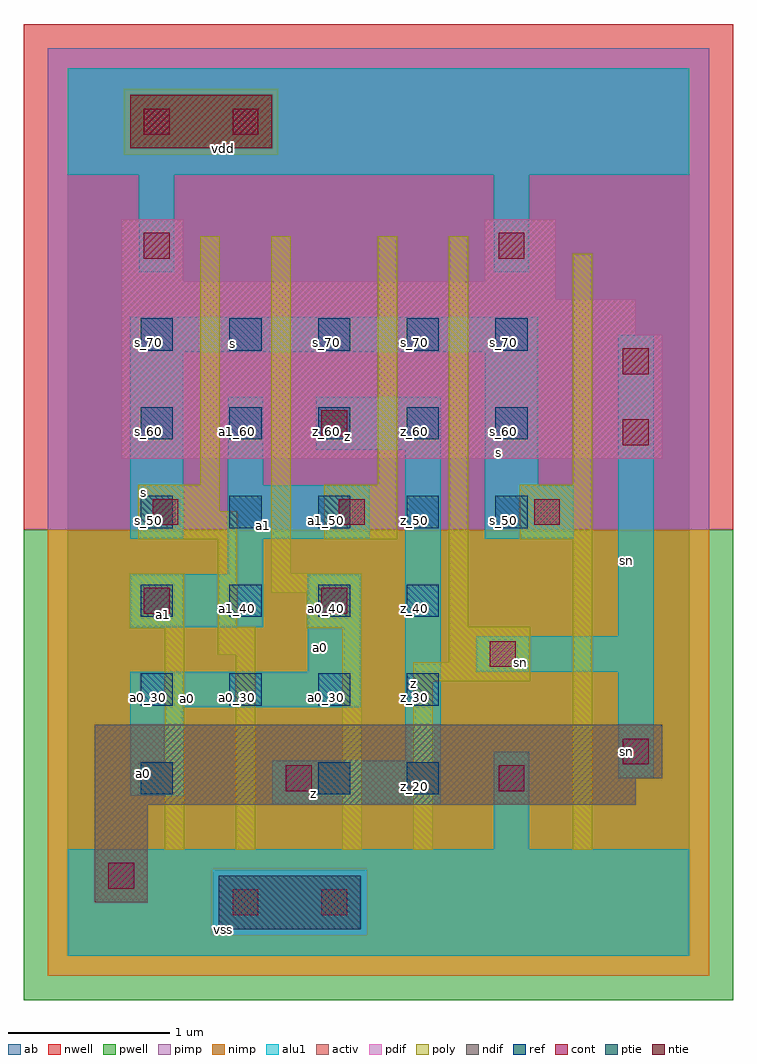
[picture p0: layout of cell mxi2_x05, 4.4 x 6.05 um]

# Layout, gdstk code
import gdstk
lib = gdstk.Library(unit=1e-6, precision=2.5e-09)
def R(c, l, rs):  # rectangles x0, y0, x1, y1
    for r in rs: c.add(gdstk.rectangle(r[:2], r[2:], *l))
def A(c, l, x, y, w, h, nx, ny, dx, dy):  # array of equal rectangles
    R(c, l, [(x+i*dx, y+j*dy, x+i*dx+w, y+j*dy+h) for i in range(nx) for j in range(ny)])
ndif = (3, 0)
pdif = (4, 0)
ntie = (5, 0)
ptie = (6, 0)
ref = (24, 0)
cont = (25, 0)
pwell = (41, 0)
nwell = (42, 0)
activ = (43, 0)
pimp = (44, 0)
nimp = (45, 0)
poly = (46, 0)
alu1 = (49, 0)
ab = (63, 0)

mxi2_x05 = lib.new_cell('mxi2_x05')
R(mxi2_x05, ndif, [(0.165,0.33,0.495,0.935), (0.165,0.935,3.52,1.1), (0.165,1.1,3.685,1.43)])
R(mxi2_x05, pdif, [(0.33,3.08,3.685,3.85), (0.33,3.85,3.52,4.07), (0.33,4.07,3.025,4.18), (0.33,4.18,0.715,4.565), (2.585,4.18,3.025,4.565)])
R(mxi2_x05, ntie, [(0.385,5.005,1.265,5.335)])
R(mxi2_x05, ptie, [(0.935,0.165,1.815,0.495)])
A(mxi2_x05, ref, 0.45, 1.55, 0.2, 0.2, 4, 2, 0.55, 0.55)
A(mxi2_x05, ref, 0.45, 2.65, 0.2, 0.2, 5, 3, 0.55, 0.55)
R(mxi2_x05, ref, [(0.45,1,0.65,1.2), (1.55,1,1.75,1.2), (2.1,1,2.3,1.2)])
R(mxi2_x05, cont, [(1.02,0.25,1.18,0.41), (1.57,0.25,1.73,0.41), (0.25,0.415,0.41,0.575), (1.35,1.02,1.51,1.18), (2.67,1.02,2.83,1.18), (3.44,1.185,3.6,1.345), (2.615,1.79,2.775,1.95), (0.47,2.12,0.63,2.28), (1.57,2.12,1.73,2.28), (0.525,2.67,0.685,2.83), (1.68,2.67,1.84,2.83), (2.89,2.67,3.05,2.83), (3.44,3.165,3.6,3.325), (1.57,3.22,1.73,3.38), (3.44,3.605,3.6,3.765), (0.47,4.32,0.63,4.48), (2.67,4.32,2.83,4.48), (0.47,5.09,0.63,5.25), (1.02,5.09,1.18,5.25)])
R(mxi2_x05, pwell, [(-0.275,-0.275,4.125,2.64)])
R(mxi2_x05, nwell, [(-0.275,2.64,4.125,5.775)])
R(mxi2_x05, activ, [(0.935,0.165,1.815,0.495), (0.165,0.33,0.495,0.935), (0.165,0.935,3.52,1.1), (0.165,1.1,3.685,1.43), (0.33,3.08,3.685,3.85), (0.33,3.85,3.52,4.07), (0.33,4.07,3.025,4.18), (0.33,4.18,0.715,4.565), (2.585,4.18,3.025,4.565), (0.385,5.005,1.265,5.335)])
R(mxi2_x05, pimp, [(0.895,0.125,1.855,0.535), (-0.125,2.64,3.975,4.965), (-0.125,4.965,0.345,5.375), (1.305,4.965,3.975,5.375), (-0.125,5.375,3.975,5.625)])
R(mxi2_x05, nimp, [(-0.125,-0.125,3.975,0.125), (-0.125,0.125,0.895,0.535), (1.855,0.125,3.975,0.535), (-0.125,0.535,3.975,2.64), (0.345,4.965,1.305,5.375)])
R(mxi2_x05, poly, [(0.6,0.655,0.72,2.03), (1.04,0.655,1.16,1.865), (1.7,0.655,1.82,2.03), (2.14,0.655,2.26,1.7), (3.13,0.655,3.25,2.58), (2.14,1.7,2.865,1.82), (2.36,1.82,2.865,2.04), (0.93,1.865,1.16,2.04), (0.38,2.03,0.72,2.37), (1.48,2.03,1.82,2.25), (0.93,2.04,1.05,2.58), (2.36,2.04,2.48,4.46), (1.26,2.25,1.82,2.37), (1.26,2.37,1.38,4.46), (0.435,2.58,1.05,2.755), (1.59,2.58,2.04,2.92), (2.8,2.58,3.25,2.92), (0.435,2.755,0.94,2.92), (0.82,2.92,0.94,4.46), (1.92,2.92,2.04,4.46), (3.13,2.92,3.25,4.35)])
R(mxi2_x05, alu1, [(0,0,3.85,0.66), (2.64,0.66,2.86,1.265), (1.265,0.935,2.31,1.21), (0.385,0.99,0.715,1.54), (3.41,1.1,3.63,1.76), (2.09,1.21,2.31,3.135), (0.385,1.54,1.815,1.76), (1.485,1.76,1.815,2.365), (2.53,1.76,3.63,1.98), (3.41,1.98,3.63,3.85), (0.385,2.035,1.21,2.365), (0.99,2.365,1.21,2.585), (0.385,2.585,0.715,3.74), (0.99,2.585,1.87,2.915), (2.585,2.585,3.135,2.915), (0.99,2.915,1.21,3.465), (2.585,2.915,2.915,3.74), (1.54,3.135,2.31,3.465), (0.385,3.74,2.915,3.96), (0.44,4.235,0.66,4.84), (2.64,4.235,2.86,4.84), (0,4.84,3.85,5.5)])
R(mxi2_x05, ab, [(0,0,3.85,5.5)])
mxi2_x05.add(gdstk.Label('vss', (0.9625,0.165), layer=49, texttype=0))
mxi2_x05.add(gdstk.Label('sn', (3.465,1.265), layer=49, texttype=0))
mxi2_x05.add(gdstk.Label('z', (1.525,1.0025), layer=49, texttype=0))
mxi2_x05.add(gdstk.Label('sn', (2.805,1.815), layer=49, texttype=0))
mxi2_x05.add(gdstk.Label('sn', (3.465,2.4475), layer=49, texttype=0))
mxi2_x05.add(gdstk.Label('s', (2.6675,3.12), layer=49, texttype=0))
mxi2_x05.add(gdstk.Label('z', (2.145,1.69), layer=49, texttype=0))
mxi2_x05.add(gdstk.Label('a0', (0.4675,1.1275), layer=49, texttype=0))
mxi2_x05.add(gdstk.Label('a0', (0.7425,1.595), layer=49, texttype=0))
mxi2_x05.add(gdstk.Label('a0', (1.5675,1.91), layer=49, texttype=0))
mxi2_x05.add(gdstk.Label('a1', (0.59,2.1175), layer=49, texttype=0))
mxi2_x05.add(gdstk.Label('a1', (1.21,2.6675), layer=49, texttype=0))
mxi2_x05.add(gdstk.Label('z', (1.7325,3.2175), layer=49, texttype=0))
mxi2_x05.add(gdstk.Label('s', (0.4675,2.8725), layer=49, texttype=0))
mxi2_x05.add(gdstk.Label('s', (1.0175,3.795), layer=49, texttype=0))
mxi2_x05.add(gdstk.Label('vdd', (0.9625,5.005), layer=49, texttype=0))
mxi2_x05.add(gdstk.Label('z_50', (2.15,2.7), layer=24, texttype=0))
mxi2_x05.add(gdstk.Label('z_40', (2.15,2.15), layer=24, texttype=0))
mxi2_x05.add(gdstk.Label('z_30', (2.15,1.6), layer=24, texttype=0))
mxi2_x05.add(gdstk.Label('s_50', (2.7,2.7), layer=24, texttype=0))
mxi2_x05.add(gdstk.Label('s_60', (2.7,3.25), layer=24, texttype=0))
mxi2_x05.add(gdstk.Label('a0_30', (0.5,1.05), layer=24, texttype=0))
mxi2_x05.add(gdstk.Label('a0_30', (0.5,1.6), layer=24, texttype=0))
mxi2_x05.add(gdstk.Label('a0_30', (1.05,1.6), layer=24, texttype=0))
mxi2_x05.add(gdstk.Label('a0_30', (1.6,1.6), layer=24, texttype=0))
mxi2_x05.add(gdstk.Label('a0_40', (1.6,2.15), layer=24, texttype=0))
mxi2_x05.add(gdstk.Label('z_20', (2.15,1.05), layer=24, texttype=0))
mxi2_x05.add(gdstk.Label('z_60', (2.15,3.25), layer=24, texttype=0))
mxi2_x05.add(gdstk.Label('z_60', (1.6,3.25), layer=24, texttype=0))
mxi2_x05.add(gdstk.Label('a1_60', (1.05,3.25), layer=24, texttype=0))
mxi2_x05.add(gdstk.Label('a1_50', (1.6,2.7), layer=24, texttype=0))
mxi2_x05.add(gdstk.Label('a1_50', (1.05,2.7), layer=24, texttype=0))
mxi2_x05.add(gdstk.Label('a1_40', (1.05,2.15), layer=24, texttype=0))
mxi2_x05.add(gdstk.Label('a1_40', (0.5,2.15), layer=24, texttype=0))
mxi2_x05.add(gdstk.Label('s_70', (2.7,3.8), layer=24, texttype=0))
mxi2_x05.add(gdstk.Label('s_70', (2.15,3.8), layer=24, texttype=0))
mxi2_x05.add(gdstk.Label('s_70', (1.6,3.8), layer=24, texttype=0))
mxi2_x05.add(gdstk.Label('s_70', (1.05,3.8), layer=24, texttype=0))
mxi2_x05.add(gdstk.Label('s_70', (0.5,3.8), layer=24, texttype=0))
mxi2_x05.add(gdstk.Label('s_60', (0.5,3.25), layer=24, texttype=0))
mxi2_x05.add(gdstk.Label('s_50', (0.5,2.7), layer=24, texttype=0))
mxi2_x05.add(gdstk.Label('z_20', (1.6,1.05), layer=24, texttype=0))

lib.write_gds('mxi2_x05.gds')
